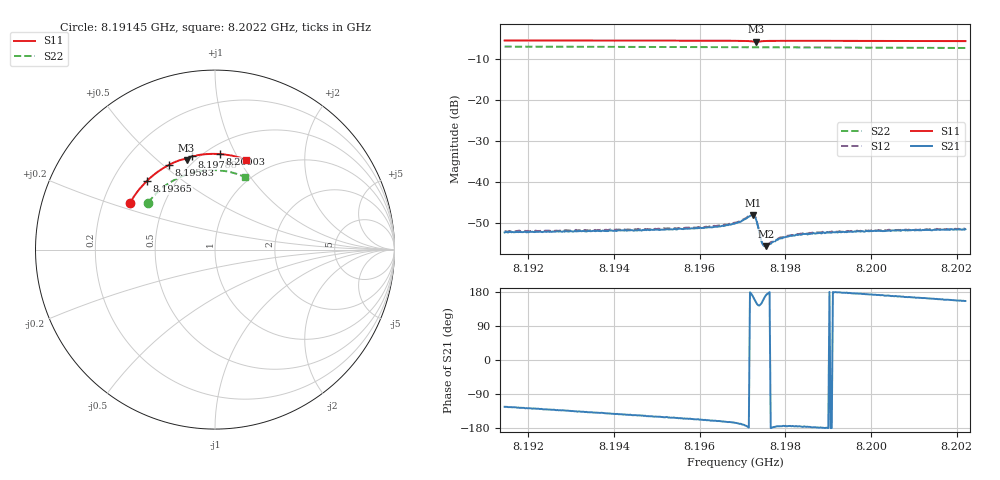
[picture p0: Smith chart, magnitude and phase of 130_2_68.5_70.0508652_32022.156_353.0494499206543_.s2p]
#  HZ  S  RI  R  50.00
! Rohde & Schwarz Vector Network Analyzer
! Rohde-Schwarz,ZNB20-2Port,1311601062101988,3.16
! Created: UTC 3/20/2024, 5:09:35 PM
! freq[Hz]  re:S11  im:S11  re:S21  im:S21  re:S12  im:S12  re:S22  im:S22
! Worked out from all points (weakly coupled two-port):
!   401 points, 8.19145 GHz to 8.2022 GHz, reference 50 ohm
!   highest |S21| = -47.96 dB at 8.19726 GHz (marker M1); lowest = -55.6 dB at 8.19755 GHz (marker M2)
!   lowest |S11| = -5.7 dB at 8.19731 GHz (marker M3), VSWR 3.18, Z = 22.9 + j31.3 ohm
!   |S11| at or under -10 dB: nowhere
!   |S22| runs from -7.2 to -6.8 dB; largest |S21 - S12| = 0.0002
!   S11 on the Smith chart (normalised r, x): 8.19145 GHz: 0.32, +0.23; 8.19365 GHz: 0.35, +0.37; 8.19583 GHz: 0.39, +0.52; 8.19788 GHz: 0.46, +0.67; 8.20003 GHz: 0.58, +0.86; 8.2022 GHz: 0.77, +1.08
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8.19145e9  -0.4748 0.2574  -0.00135 -0.00203  -0.00144 -0.00208  -0.3723 0.261
8.193252e9  -0.4012 0.3601  -0.00183 -0.00173  -0.00193 -0.00172  -0.3045 0.3345
8.193655e9  -0.3815 0.3805  -0.00194 -0.00164  -0.00204 -0.00162  -0.287 0.349
8.195053e9  -0.3052 0.4427  -0.00226 -0.00131  -0.00238 -0.00127  -0.2214 0.3914
8.195832e9  -0.2578 0.4711  -0.0025 -0.00113  -0.00257 -0.00102  -0.1819 0.4099
8.196451e9  -0.2177 0.4901  -0.00273 -0.000947  -0.00284 -0.000836  -0.1492 0.4219
8.196827e9  -0.1916 0.4998  -0.00304 -0.000766  -0.00314 -0.000673  -0.1288 0.428
8.196962e9  -0.1814 0.5026  -0.00323 -0.00067  -0.00333 -0.000547  -0.1215 0.4299
8.197204e9  -0.1612 0.5027  -0.00393 0.000345  -0.00402 0.000501  -0.1079 0.4328
8.197257e9  -0.1581 0.4999  -0.00387 0.00101  -0.00388 0.00115  -0.1051 0.4333
8.197311e9  -0.158 0.4973  -0.00323 0.0016  -0.00324 0.00177  -0.1022 0.4339
8.197338e9  -0.1591 0.497  -0.00276 0.00173  -0.00275 0.00187  -0.1008 0.4342
8.197445e9  -0.159 0.5039  -0.00163 0.000956  -0.00161 0.00104  -0.0951 0.4354
8.197499e9  -0.1557 0.5074  -0.00159 0.000527  -0.00158 0.000622  -0.0922 0.436
8.197553e9  -0.1519 0.5103  -0.00164 0.000248  -0.00162 0.000361  -0.089 0.4367
8.197714e9  -0.1395 0.5157  -0.00186 -8.95e-05  -0.00192 -3.51e-05  -0.08 0.4381
8.197876e9  -0.1277 0.5192  -0.00204 -0.00019  -0.00211 -0.000115  -0.071 0.4395
8.198144e9  -0.1083 0.5239  -0.00221 -0.000198  -0.00227 -0.000114  -0.0557 0.4411
8.198628e9  -0.0738 0.5294  -0.00235 -8.74e-05  -0.00243 -4.36e-06  -0.0284 0.4429
8.200026e9  0.0253 0.5325  -0.00251 0.000318  -0.00254 0.000438  0.0509 0.4382
8.20043e9  0.0537 0.5299  -0.00254 0.000465  -0.00257 0.000569  0.0735 0.4344
8.202204e9  0.1754 0.5005  -0.00243 0.00109  -0.00239 0.00121  0.1697 0.4028
